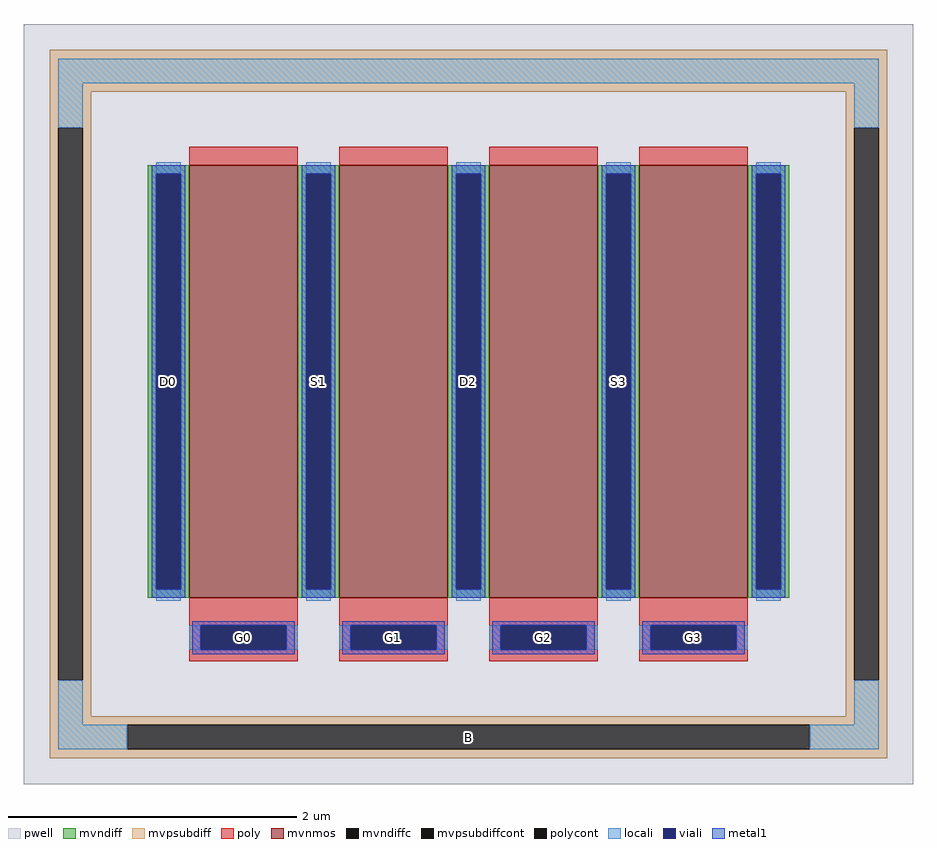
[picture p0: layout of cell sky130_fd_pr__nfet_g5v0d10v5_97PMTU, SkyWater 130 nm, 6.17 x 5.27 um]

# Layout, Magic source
magic
tech sky130A
magscale 1 2
<< pwell >>
rect -617 -527 617 527
<< mvnmos >>
rect -387 -269 -237 331
rect -179 -269 -29 331
rect 29 -269 179 331
rect 237 -269 387 331
<< mvndiff >>
rect -445 319 -387 331
rect -445 -257 -433 319
rect -399 -257 -387 319
rect -445 -269 -387 -257
rect -237 319 -179 331
rect -237 -257 -225 319
rect -191 -257 -179 319
rect -237 -269 -179 -257
rect -29 319 29 331
rect -29 -257 -17 319
rect 17 -257 29 319
rect -29 -269 29 -257
rect 179 319 237 331
rect 179 -257 191 319
rect 225 -257 237 319
rect 179 -269 237 -257
rect 387 319 445 331
rect 387 -257 399 319
rect 433 -257 445 319
rect 387 -269 445 -257
<< mvndiffc >>
rect -433 -257 -399 319
rect -225 -257 -191 319
rect -17 -257 17 319
rect 191 -257 225 319
rect 399 -257 433 319
<< mvpsubdiff >>
rect -581 433 581 491
rect -581 383 -523 433
rect -581 -383 -569 383
rect -535 -383 -523 383
rect 523 383 581 433
rect -581 -433 -523 -383
rect 523 -383 535 383
rect 569 -383 581 383
rect 523 -433 581 -383
rect -581 -445 581 -433
rect -581 -479 -473 -445
rect 473 -479 581 -445
rect -581 -491 581 -479
<< mvpsubdiffcont >>
rect -569 -383 -535 383
rect 535 -383 569 383
rect -473 -479 473 -445
<< poly >>
rect -387 331 -237 357
rect -179 331 -29 357
rect 29 331 179 357
rect 237 331 387 357
rect -387 -307 -237 -269
rect -387 -341 -371 -307
rect -253 -341 -237 -307
rect -387 -357 -237 -341
rect -179 -307 -29 -269
rect -179 -341 -163 -307
rect -45 -341 -29 -307
rect -179 -357 -29 -341
rect 29 -307 179 -269
rect 29 -341 45 -307
rect 163 -341 179 -307
rect 29 -357 179 -341
rect 237 -307 387 -269
rect 237 -341 253 -307
rect 371 -341 387 -307
rect 237 -357 387 -341
<< polycont >>
rect -371 -341 -253 -307
rect -163 -341 -45 -307
rect 45 -341 163 -307
rect 253 -341 371 -307
<< locali >>
rect -569 445 569 479
rect -569 383 -535 445
rect 535 383 569 445
rect -433 319 -399 335
rect -433 -273 -399 -257
rect -225 319 -191 335
rect -225 -273 -191 -257
rect -17 319 17 335
rect -17 -273 17 -257
rect 191 319 225 335
rect 191 -273 225 -257
rect 399 319 433 335
rect 399 -273 433 -257
rect -387 -341 -371 -307
rect -253 -341 -237 -307
rect -179 -341 -163 -307
rect -45 -341 -29 -307
rect 29 -341 45 -307
rect 163 -341 179 -307
rect 237 -341 253 -307
rect 371 -341 387 -307
rect -569 -445 -535 -383
rect 535 -445 569 -383
rect -569 -479 -473 -445
rect 473 -479 569 -445
<< viali >>
rect -433 -257 -399 319
rect -225 -257 -191 319
rect -17 -257 17 319
rect 191 -257 225 319
rect 399 -257 433 319
rect -371 -341 -253 -307
rect -163 -341 -45 -307
rect 45 -341 163 -307
rect 253 -341 371 -307
<< metal1 >>
rect -439 319 -393 331
rect -439 -257 -433 319
rect -399 -257 -393 319
rect -439 -269 -393 -257
rect -231 319 -185 331
rect -231 -257 -225 319
rect -191 -257 -185 319
rect -231 -269 -185 -257
rect -23 319 23 331
rect -23 -257 -17 319
rect 17 -257 23 319
rect -23 -269 23 -257
rect 185 319 231 331
rect 185 -257 191 319
rect 225 -257 231 319
rect 185 -269 231 -257
rect 393 319 439 331
rect 393 -257 399 319
rect 433 -257 439 319
rect 393 -269 439 -257
rect -383 -307 -241 -301
rect -383 -341 -371 -307
rect -253 -341 -241 -307
rect -383 -347 -241 -341
rect -175 -307 -33 -301
rect -175 -341 -163 -307
rect -45 -341 -33 -307
rect -175 -347 -33 -341
rect 33 -307 175 -301
rect 33 -341 45 -307
rect 163 -341 175 -307
rect 33 -347 175 -341
rect 241 -307 383 -301
rect 241 -341 253 -307
rect 371 -341 383 -307
rect 241 -347 383 -341
<< labels >>
rlabel mvpsubdiffcont 0 -462 0 -462 0 B
port 1 nsew
rlabel mvndiffc -416 31 -416 31 0 D0
port 2 nsew
rlabel polycont -312 -324 -312 -324 0 G0
port 3 nsew
rlabel mvndiffc -208 31 -208 31 0 S1
port 4 nsew
rlabel polycont -104 -324 -104 -324 0 G1
port 5 nsew
rlabel mvndiffc 0 31 0 31 0 D2
port 6 nsew
rlabel polycont 104 -324 104 -324 0 G2
port 7 nsew
rlabel mvndiffc 208 31 208 31 0 S3
port 8 nsew
rlabel polycont 312 -324 312 -324 0 G3
port 9 nsew
<< properties >>
string FIXED_BBOX -552 -462 552 462
string gencell sky130_fd_pr__nfet_g5v0d10v5
string library sky130
string parameters w 3.0 l 0.75 m 1 nf 4 diffcov 100 polycov 100 guard 1 glc 1 grc 1 gtc 0 gbc 1 tbcov 100 rlcov 100 topc 0 botc 1 poverlap 0 doverlap 1 lmin 0.50 wmin 0.42 class mosfet compatible {sky130_fd_pr__nfet_01v8 sky130_fd_pr__nfet_01v8_lvt  sky130_fd_bs_flash__special_sonosfet_star  sky130_fd_pr__nfet_g5v0d10v5 sky130_fd_pr__nfet_05v0_nvt  sky130_fd_pr__nfet_03v3_nvt} full_metal 1 conn_gates 0 viasrc 100 viadrn 100 viagate 100 viagb 0 viagr 0 viagl 0 viagt 0 doports 1
<< end >>
